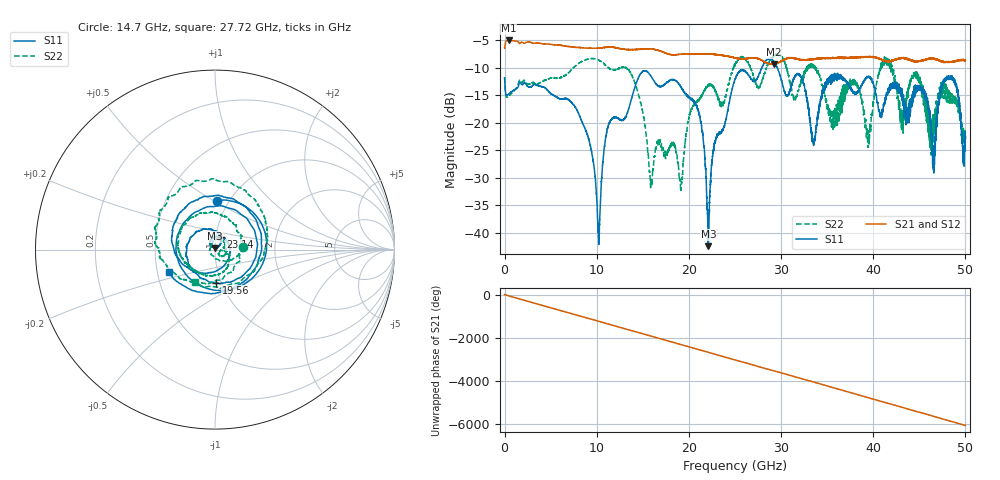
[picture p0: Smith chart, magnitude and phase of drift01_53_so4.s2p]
!Created with skrf (http://scikit-rf.org).
# Hz S RI R 50.0
!freq ReS11 ImS11 ReS21 ImS21 ReS12 ImS12 ReS22 ImS22
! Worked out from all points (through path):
!   10001 points, 300 kHz to 50 GHz, reference 50 ohm
!   highest |S21| = -5.06 dB at 445.3 MHz (marker M1); lowest = -9.4 dB at 29.19 GHz (marker M2)
!   group delay of S21, straight-line fit = 336 ps
!   lowest |S11| = -42.4 dB at 22.11 GHz (marker M3), VSWR 1.02, Z = 49.8 + j0.729 ohm
!   |S11| at or under -10 dB: start of sweep to 27.91 GHz; 29.6 GHz to end of sweep
!   |S22| runs from -32.4 to -7.5 dB; largest |S21 - S12| = 0.013
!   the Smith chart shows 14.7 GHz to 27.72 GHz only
!   S11 on the Smith chart (normalised r, x): 14.7 GHz: 0.88, +0.52; 19.56 GHz: 0.95, -0.36; 23.14 GHz: 1.05, +0.15; 27.72 GHz: 0.57, -0.16
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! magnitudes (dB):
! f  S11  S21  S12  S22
! 300 kHz  -11.8  -6.5  -6.5  -11.8
! 445.3 MHz  -14.8  -5.1  -5.1  -15.1
! 8.335 GHz  -19.5  -6.4  -6.4  -8.9
! 10.21 GHz  -41.7  -6.4  -6.4  -8.6
! 11.24 GHz  -20.7  -6.3  -6.2  -9.9
! 14.7 GHz  -11.3  -6.7  -6.7  -16.0
! 15.88 GHz  -11.5  -6.6  -6.6  -30.8
! 16.67 GHz  -13.3  -6.9  -6.8  -23.2
! 19.56 GHz  -14.7  -7.5  -7.5  -24.0
! 21.2 GHz  -18.9  -7.5  -7.5  -15.6
! 22.11 GHz  -42.4  -7.5  -7.5  -13.2
! 23.14 GHz  -22.2  -7.7  -7.7  -15.3
! 25 GHz  -12.1  -8.2  -8.3  -9.5
! 27.72 GHz  -10.8  -8.5  -8.5  -13.4
! 29.19 GHz  -8.9  -9.4  -9.4  -7.9
! 33.34 GHz  -22.5  -8.5  -8.4  -9.4
! 39.47 GHz  -11.6  -8.1  -8.0  -22.3
! 41.67 GHz  -13.9  -8.8  -8.8  -9.0
! 45.36 GHz  -13.7  -8.7  -8.7  -14.3
! 46.56 GHz  -25.0  -8.4  -8.3  -21.5
! 48.52 GHz  -11.5  -8.9  -9.0  -15.0
! 50 GHz  -22.8  -8.7  -8.7  -23.0
